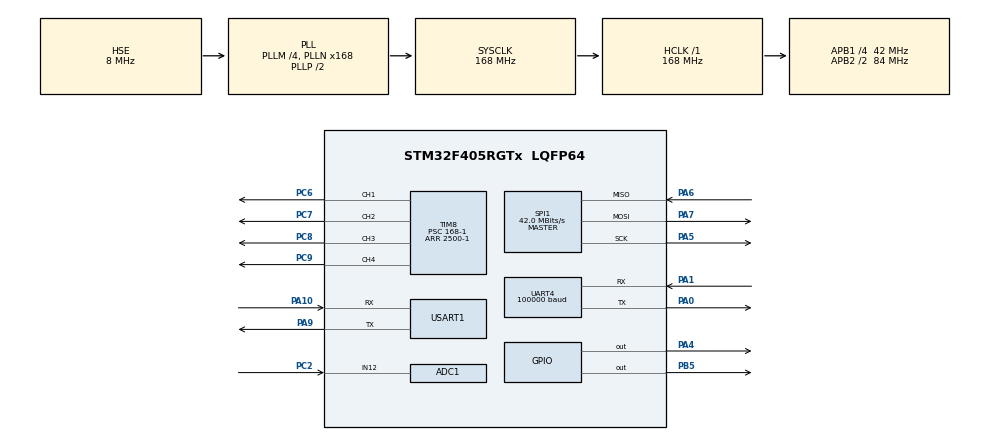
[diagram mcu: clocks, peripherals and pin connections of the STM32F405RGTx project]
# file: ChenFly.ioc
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ADC1.Channel-5\#ChannelRegularConversion=ADC_CHANNEL_12
ADC1.NbrOfConversionFlag=1
ADC1.Rank-5\#ChannelRegularConversion=1
ADC1.SamplingTime-5\#ChannelRegularConversion=ADC_SAMPLETIME_3CYCLES
ADC1.master=1
Mcu.Family=STM32F4
Mcu.Name=STM32F405RGTx
Mcu.Package=LQFP64
NVIC.PriorityGroup=NVIC_PRIORITYGROUP_4
NVIC.UART4_IRQn=true\:0\:0\:false\:false\:true\:true\:true
NVIC.USART1_IRQn=true\:0\:0\:false\:false\:true\:true\:true
PA0-WKUP.GPIO_PuPd=GPIO_NOPULL
PA0-WKUP.Mode=Asynchronous
PA0-WKUP.Signal=UART4_TX
PA1.GPIO_PuPd=GPIO_PULLUP
PA1.Mode=Asynchronous
PA1.Signal=UART4_RX
PA10.GPIO_PuPd=GPIO_PULLUP
PA10.Mode=Asynchronous
PA10.Signal=USART1_RX
PA13.Mode=Serial_Wire
PA13.Signal=SYS_JTMS-SWDIO
PA14.Mode=Serial_Wire
PA14.Signal=SYS_JTCK-SWCLK
PA4.GPIO_PuPd=GPIO_PULLUP
PA4.GPIO_Speed=GPIO_SPEED_FREQ_HIGH
PA4.PinState=GPIO_PIN_SET
PA4.Signal=GPIO_Output
PA5.Mode=Full_Duplex_Master
PA5.Signal=SPI1_SCK
PA6.GPIO_PuPd=GPIO_NOPULL
PA6.Mode=Full_Duplex_Master
PA6.Signal=SPI1_MISO
PA7.GPIO_PuPd=GPIO_NOPULL
PA7.Mode=Full_Duplex_Master
PA7.Signal=SPI1_MOSI
PA9.Mode=Asynchronous
PA9.Signal=USART1_TX
PB5.Signal=GPIO_Output
PC2.Signal=ADCx_IN12
PC6.Signal=S_TIM8_CH1
PC7.Signal=S_TIM8_CH2
PC8.Signal=S_TIM8_CH3
PC9.Signal=S_TIM8_CH4
PH0-OSC_IN.Mode=HSE-External-Oscillator
PH0-OSC_IN.Signal=RCC_OSC_IN
PH1-OSC_OUT.Mode=HSE-External-Oscillator
PH1-OSC_OUT.Signal=RCC_OSC_OUT
ProjectManager.HeapSize=0x200
ProjectManager.StackSize=0x400
ProjectManager.TargetToolchain=MDK-ARM V5.32
RCC.48MHZClocksFreq_Value=84000000
RCC.AHBFreq_Value=168000000
RCC.APB1CLKDivider=RCC_HCLK_DIV4
RCC.APB1Freq_Value=42000000
RCC.APB1TimFreq_Value=84000000
RCC.APB2CLKDivider=RCC_HCLK_DIV2
RCC.APB2Freq_Value=84000000
RCC.APB2TimFreq_Value=168000000
RCC.CortexFreq_Value=168000000
RCC.HCLKFreq_Value=168000000
RCC.HSE_VALUE=8000000
RCC.HSI_VALUE=16000000
RCC.LSE_VALUE=32768
RCC.PLLM=4
RCC.PLLN=168
RCC.PLLSourceVirtual=RCC_PLLSOURCE_HSE
RCC.SYSCLKFreq_VALUE=168000000
RCC.SYSCLKSource=RCC_SYSCLKSOURCE_PLLCLK
RCC.VCOOutputFreq_Value=336000000
SH.ADCx_IN12.0=ADC1_IN12,IN12
SH.S_TIM8_CH1.0=TIM8_CH1,PWM Generation1 CH1
SH.S_TIM8_CH2.0=TIM8_CH2,PWM Generation2 CH2
SH.S_TIM8_CH3.0=TIM8_CH3,PWM Generation3 CH3
SH.S_TIM8_CH4.0=TIM8_CH4,PWM Generation4 CH4
SPI1.CLKPhase=SPI_PHASE_2EDGE
SPI1.CLKPolarity=SPI_POLARITY_HIGH
SPI1.CalculateBaudRate=42.0 MBits/s
SPI1.Direction=SPI_DIRECTION_2LINES
SPI1.Mode=SPI_MODE_MASTER
SPI1.VirtualType=VM_MASTER
TIM8.Channel-PWM\ Generation1\ CH1=TIM_CHANNEL_1
TIM8.Channel-PWM\ Generation2\ CH2=TIM_CHANNEL_2
TIM8.Channel-PWM\ Generation3\ CH3=TIM_CHANNEL_3
TIM8.Channel-PWM\ Generation4\ CH4=TIM_CHANNEL_4
TIM8.Period=2500-1
TIM8.Prescaler=168-1
UART4.BaudRate=100000
UART4.Parity=PARITY_EVEN
UART4.StopBits=UART_STOPBITS_2
UART4.VirtualMode=Asynchronous
UART4.WordLength=WORDLENGTH_9B
USART1.VirtualMode=VM_ASYNC
VP_TIM8_VS_ClockSourceINT.Mode=Internal
board=custom

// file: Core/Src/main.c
/* USER CODE BEGIN Header */
/**
  ******************************************************************************
  * @file           : main.c
  * @brief          : Main program body
  ******************************************************************************
  * @attention
  *
  * Copyright (c) 2023 STMicroelectronics.
  * All rights reserved.
  *
  * This software is licensed under terms that can be found in the LICENSE file
  * in the root directory of this software component.
  * If no LICENSE file comes with this software, it is provided AS-IS.
  *
  ******************************************************************************
  */
/* USER CODE END Header */
#include "main.h"
#include "adc.h"
#include "spi.h"
#include "tim.h"
#include "usart.h"
#include "gpio.h"

/* USER CODE BEGIN Includes */
#include "scheduler.h"
#include "motor.h"
#include "icm20602.h"
#include "flightcontrol.h"
#include "string.h"
/* USER CODE END Includes */

void SystemClock_Config(void);

/* USER CODE BEGIN 0 */
uint8_t rx_data1[128] = {0x00};
uint8_t rx_size1 = 0;
uint8_t data_size1 = 0;
uint8_t rx_data4[128] = {0x00};
uint8_t rx_size4 = 0;

extern uint16_t motorA_speed;
extern uint16_t motorB_speed;
extern uint16_t motorC_speed;
extern uint16_t motorD_speed;
extern uint8_t sbus_original_data[25];

extern float roll_P, roll_I, roll_D;
extern float pitch_P, pitch_I, pitch_D;
extern float yaw_P, yaw_I, yaw_D;
uint8_t send_pid[23] = {0xFE, 0xEF, 0x17, 0x83, 0x00, 0x00, 0x00, 0x00, 0x00, 0x00, 0x00, 0x00, 0x00, 0x00, 0x00, 0x00, 0x00, 0x00, 0x00, 0x00, 0x00, 0x00, 0x00};
/* USER CODE END 0 */

int main(void)
{

  /* MCU Configuration--------------------------------------------------------*/

  /* Reset of all peripherals, Initializes the Flash interface and the Systick. */
  HAL_Init();

  /* Configure the system clock */
  SystemClock_Config();

  /* Initialize all configured peripherals */
  MX_GPIO_Init();
  MX_USART1_UART_Init();
  MX_ADC1_Init();
  MX_UART4_Init();
  MX_TIM8_Init();
  MX_SPI1_Init();
  /* USER CODE BEGIN 2 */
  HAL_UART_Receive_IT(&huart1, rx_data1, 1);
  HAL_UART_Receive_IT(&huart4, rx_data4, 1);
  Scheduler_init();
  motor_init();
  icm20602_init_spi();
  gyroOffsetInit();
  init_flightcontrol();
  /* USER CODE END 2 */

  /* Infinite loop */
  /* USER CODE BEGIN WHILE */
  while (1)
  {
	  Scheduler_run();
    /* USER CODE END WHILE */

  }
}

void SystemClock_Config(void)
{
  RCC_OscInitTypeDef RCC_OscInitStruct = {0};
  RCC_ClkInitTypeDef RCC_ClkInitStruct = {0};

  /** Configure the main internal regulator output voltage
  */
  __HAL_RCC_PWR_CLK_ENABLE();
  __HAL_PWR_VOLTAGESCALING_CONFIG(PWR_REGULATOR_VOLTAGE_SCALE1);
  /** Initializes the RCC Oscillators according to the specified parameters
  * in the RCC_OscInitTypeDef structure.
  */
  RCC_OscInitStruct.OscillatorType = RCC_OSCILLATORTYPE_HSE;
  RCC_OscInitStruct.HSEState = RCC_HSE_ON;
  RCC_OscInitStruct.PLL.PLLState = RCC_PLL_ON;
  RCC_OscInitStruct.PLL.PLLSource = RCC_PLLSOURCE_HSE;
  RCC_OscInitStruct.PLL.PLLM = 4;
  RCC_OscInitStruct.PLL.PLLN = 168;
  RCC_OscInitStruct.PLL.PLLP = RCC_PLLP_DIV2;
  RCC_OscInitStruct.PLL.PLLQ = 4;
  if (HAL_RCC_OscConfig(&RCC_OscInitStruct) != HAL_OK)
  {
    Error_Handler();
  }
  /** Initializes the CPU, AHB and APB buses clocks
  */
  RCC_ClkInitStruct.ClockType = RCC_CLOCKTYPE_HCLK|RCC_CLOCKTYPE_SYSCLK
                              |RCC_CLOCKTYPE_PCLK1|RCC_CLOCKTYPE_PCLK2;
  RCC_ClkInitStruct.SYSCLKSource = RCC_SYSCLKSOURCE_PLLCLK;
  RCC_ClkInitStruct.AHBCLKDivider = RCC_SYSCLK_DIV1;
  RCC_ClkInitStruct.APB1CLKDivider = RCC_HCLK_DIV4;
  RCC_ClkInitStruct.APB2CLKDivider = RCC_HCLK_DIV2;

  if (HAL_RCC_ClockConfig(&RCC_ClkInitStruct, FLASH_LATENCY_5) != HAL_OK)
  {
    Error_Handler();
  }
}

/* USER CODE BEGIN 4 */
void HAL_UART_RxCpltCallback(UART_HandleTypeDef *huart)
{
  if (huart->Instance == USART1)
  {
	if(rx_size1 == 0)
	{
		if(rx_data1[rx_size1] == 0xFE)
		  rx_size1++;
		else
		  rx_size1 = 0;
	}
	else if(rx_size1 == 1)
	{
		if(rx_data1[rx_size1] == 0xEF)
		  rx_size1++;
		else
		  rx_size1 = 0;
	}
	else if(rx_size1 == 2)
	{
		data_size1 = rx_data1[rx_size1];
		rx_size1++;
	}
	else
	{
		rx_size1++;
		if(rx_size1 == data_size1)
		{
			if(rx_data1[3] == 0x01)
			{
				motorA_speed = 1000+10*rx_data1[4];
				motorB_speed = 1000+10*rx_data1[5];
				motorC_speed = 1000+10*rx_data1[6];
				motorD_speed = 1000+10*rx_data1[7];
			}
			else if(rx_data1[3] == 0x02)
			{
				uint16_t temp;
				temp = (uint16_t)(roll_P*1000.0f);
				memcpy(send_pid+4, &temp, 2);
				temp = (uint16_t)(roll_I*1000.0f);
				memcpy(send_pid+6, &temp, 2);
				temp = (uint16_t)(roll_D*1000.0f);
				memcpy(send_pid+8, &temp, 2);
				temp = (uint16_t)(pitch_P*1000.0f);
				memcpy(send_pid+10, &temp, 2);
				temp = (uint16_t)(pitch_I*1000.0f);
				memcpy(send_pid+12, &temp, 2);
				temp = (uint16_t)(pitch_D*1000.0f);
				memcpy(send_pid+14, &temp, 2);
				temp = (uint16_t)(yaw_P*1000.0f);
				memcpy(send_pid+16, &temp, 2);
				temp = (uint16_t)(yaw_I*1000.0f);
				memcpy(send_pid+18, &temp, 2);
				temp = (uint16_t)(yaw_D*1000.0f);
				memcpy(send_pid+20, &temp, 2);
				HAL_UART_Transmit(&huart1, send_pid, 23, 0xffff);
			}
			else if(rx_data1[3] == 0x03)
			{
				uint16_t temp;
				memcpy(&temp, rx_data1+4, 2);
				roll_P = ((float)temp)/1000.0f;
				memcpy(&temp, rx_data1+6, 2);
				roll_I = ((float)temp)/1000.0f;
				memcpy(&temp, rx_data1+8, 2);
				roll_D = ((float)temp)/1000.0f;
				memcpy(&temp, rx_data1+10, 2);
				pitch_P = ((float)temp)/1000.0f;
				memcpy(&temp, rx_data1+12, 2);
				pitch_I = ((float)temp)/1000.0f;
				memcpy(&temp, rx_data1+14, 2);
				pitch_D = ((float)temp)/1000.0f;
				memcpy(&temp, rx_data1+16, 2);
				yaw_P = ((float)temp)/1000.0f;
				memcpy(&temp, rx_data1+18, 2);
				yaw_I = ((float)temp)/1000.0f;
				memcpy(&temp, rx_data1+20, 2);
				yaw_D = ((float)temp)/1000.0f;
			}

			rx_size1 = 0;
		}
	}
	HAL_UART_Receive_IT(&huart1, rx_data1+rx_size1, 1);
  }
  else if (huart->Instance == UART4)
  {
    if(rx_size4 == 0)
	{
	  if(rx_data4[rx_size4] == 0x0F)
		  rx_size4++;
	  else
		  rx_size4 = 0;
	}
	else
	{
		rx_size4++;
		if(rx_size4 == 25)
		{
			for(int i = 0; i < 25; i++)
			{
				sbus_original_data[i] = rx_data4[i];
			}

			rx_size4 = 0;
		}
	}
    HAL_UART_Receive_IT(&huart4, rx_data4+rx_size4, 1);
  }
  else
  {

  }
}
/* USER CODE END 4 */

void Error_Handler(void)
{
  __disable_irq();
  while (1)
  {
  }
}
